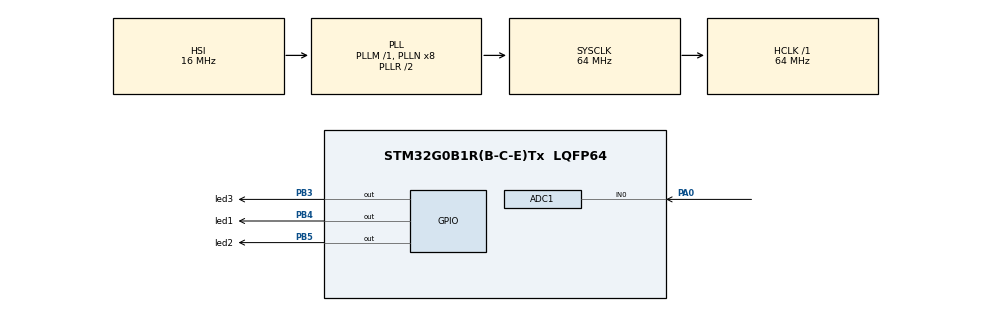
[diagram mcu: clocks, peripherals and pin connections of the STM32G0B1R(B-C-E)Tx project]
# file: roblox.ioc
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ADC1.Channel-0\#ChannelRegularConversion=ADC_CHANNEL_0
ADC1.NbrOfConversionFlag=1
ADC1.Rank-0\#ChannelRegularConversion=1
ADC1.SamplingTime-0\#ChannelRegularConversion=ADC_SAMPLINGTIME_COMMON_1
ADC1.SamplingTimeCommon1=ADC_SAMPLETIME_39CYCLES_5
ADC1.SamplingTimeCommon2=ADC_SAMPLETIME_39CYCLES_5
ADC1.SelectedChannel=ADC_CHANNEL_0
ADC1.master=1
Mcu.Family=STM32G0
Mcu.Name=STM32G0B1R(B-C-E)Tx
Mcu.Package=LQFP64
PA0.Mode=IN0
PA0.Signal=ADC1_IN0
PA13.Mode=Serial_Wire
PA13.Signal=SYS_SWDIO
PA14-BOOT0.Mode=Serial_Wire
PA14-BOOT0.Signal=SYS_SWCLK
PB3.GPIO_Label=led3
PB3.Signal=GPIO_Output
PB4.GPIO_Label=led1
PB4.Signal=GPIO_Output
PB5.GPIO_Label=led2
PB5.Signal=GPIO_Output
ProjectManager.HeapSize=0x200
ProjectManager.StackSize=0x400
ProjectManager.TargetToolchain=STM32CubeIDE
RCC.ADCFreq_Value=64000000
RCC.AHBFreq_Value=64000000
RCC.CortexFreq_Value=64000000
RCC.EXTERNAL_CLOCK_VALUE=48000
RCC.HCLKFreq_Value=64000000
RCC.HSE_VALUE=8000000
RCC.HSI48_VALUE=48000000
RCC.HSI_VALUE=16000000
RCC.LSE_VALUE=32768
RCC.SYSCLKFreq_VALUE=64000000
RCC.SYSCLKSource=RCC_SYSCLKSOURCE_PLLCLK
RCC.USBFreq_Value=48000000
RCC.VCOOutputFreq_Value=128000000
VP_SYS_VS_DBSignals.Mode=DisableDeadBatterySignals
board=custom

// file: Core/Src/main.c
/* USER CODE BEGIN Header */
/**
  ******************************************************************************
  * @file           : main.c
  * @brief          : Main program body
  ******************************************************************************
  * @attention
  *
  * Copyright (c) 2022 STMicroelectronics.
  * All rights reserved.
  *
  * This software is licensed under terms that can be found in the LICENSE file
  * in the root directory of this software component.
  * If no LICENSE file comes with this software, it is provided AS-IS.
  *
  ******************************************************************************
  */
/* USER CODE END Header */
#include "main.h"

/* USER CODE BEGIN Includes */
#include<stdint.h>
/* USER CODE END Includes */

ADC_HandleTypeDef hadc1;

void SystemClock_Config(void);
static void MX_GPIO_Init(void);
static void MX_ADC1_Init(void);

/* USER CODE BEGIN 0 */
uint16_t pot;
float tensao;
/* USER CODE END 0 */

int main(void)
{

  /* MCU Configuration--------------------------------------------------------*/

  /* Reset of all peripherals, Initializes the Flash interface and the Systick. */
  HAL_Init();

  /* Configure the system clock */
  SystemClock_Config();

  /* Initialize all configured peripherals */
  MX_GPIO_Init();
  MX_ADC1_Init();

  /* Infinite loop */
  /* USER CODE BEGIN WHILE */
  while (1)
  {
	  //Start ADC Conversion
	  HAL_ADC_Start(&hadc1);

	  //waits for the end of conversion
	  HAL_ADC_PollForConversion(&hadc1, 100);

	  //gets value from ADC result register
	  pot = HAL_ADC_GetValue(&hadc1);
	  tensao = pot * 0.000805861;

	  if (tensao <= 1){
		  HAL_GPIO_WritePin(led1_GPIO_Port, led1_Pin, 1);
		  HAL_GPIO_WritePin(led2_GPIO_Port, led2_Pin, 0);
		  HAL_GPIO_WritePin(led3_GPIO_Port, led3_Pin, 0);

	  }
	  else if (tensao > 1 && tensao < 3) {
		  HAL_GPIO_WritePin(led2_GPIO_Port, led2_Pin, 1);
		  HAL_GPIO_WritePin(led1_GPIO_Port, led1_Pin, 0);
		  HAL_GPIO_WritePin(led3_GPIO_Port, led3_Pin, 0);

	  }
	  else{
		  HAL_GPIO_WritePin(led3_GPIO_Port, led3_Pin, 1);
		  HAL_GPIO_WritePin(led1_GPIO_Port, led1_Pin, 0);
		  HAL_GPIO_WritePin(led2_GPIO_Port, led2_Pin, 0);

	  }

    /* USER CODE END WHILE */

  }
}

void SystemClock_Config(void)
{
  RCC_OscInitTypeDef RCC_OscInitStruct = {0};
  RCC_ClkInitTypeDef RCC_ClkInitStruct = {0};

  /** Configure the main internal regulator output voltage
  */
  HAL_PWREx_ControlVoltageScaling(PWR_REGULATOR_VOLTAGE_SCALE1);
  /** Initializes the RCC Oscillators according to the specified parameters
  * in the RCC_OscInitTypeDef structure.
  */
  RCC_OscInitStruct.OscillatorType = RCC_OSCILLATORTYPE_HSI;
  RCC_OscInitStruct.HSIState = RCC_HSI_ON;
  RCC_OscInitStruct.HSIDiv = RCC_HSI_DIV1;
  RCC_OscInitStruct.HSICalibrationValue = RCC_HSICALIBRATION_DEFAULT;
  RCC_OscInitStruct.PLL.PLLState = RCC_PLL_ON;
  RCC_OscInitStruct.PLL.PLLSource = RCC_PLLSOURCE_HSI;
  RCC_OscInitStruct.PLL.PLLM = RCC_PLLM_DIV1;
  RCC_OscInitStruct.PLL.PLLN = 8;
  RCC_OscInitStruct.PLL.PLLP = RCC_PLLP_DIV2;
  RCC_OscInitStruct.PLL.PLLQ = RCC_PLLQ_DIV2;
  RCC_OscInitStruct.PLL.PLLR = RCC_PLLR_DIV2;
  if (HAL_RCC_OscConfig(&RCC_OscInitStruct) != HAL_OK)
  {
    Error_Handler();
  }
  /** Initializes the CPU, AHB and APB buses clocks
  */
  RCC_ClkInitStruct.ClockType = RCC_CLOCKTYPE_HCLK|RCC_CLOCKTYPE_SYSCLK
                              |RCC_CLOCKTYPE_PCLK1;
  RCC_ClkInitStruct.SYSCLKSource = RCC_SYSCLKSOURCE_PLLCLK;
  RCC_ClkInitStruct.AHBCLKDivider = RCC_SYSCLK_DIV1;
  RCC_ClkInitStruct.APB1CLKDivider = RCC_HCLK_DIV1;

  if (HAL_RCC_ClockConfig(&RCC_ClkInitStruct, FLASH_LATENCY_2) != HAL_OK)
  {
    Error_Handler();
  }
}

static void MX_ADC1_Init(void)
{

  ADC_ChannelConfTypeDef sConfig = {0};

  /** Configure the global features of the ADC (Clock, Resolution, Data Alignment and number of conversion)
  */
  hadc1.Instance = ADC1;
  hadc1.Init.ClockPrescaler = ADC_CLOCK_SYNC_PCLK_DIV2;
  hadc1.Init.Resolution = ADC_RESOLUTION_12B;
  hadc1.Init.DataAlign = ADC_DATAALIGN_RIGHT;
  hadc1.Init.ScanConvMode = ADC_SCAN_DISABLE;
  hadc1.Init.EOCSelection = ADC_EOC_SINGLE_CONV;
  hadc1.Init.LowPowerAutoWait = DISABLE;
  hadc1.Init.LowPowerAutoPowerOff = DISABLE;
  hadc1.Init.ContinuousConvMode = DISABLE;
  hadc1.Init.NbrOfConversion = 1;
  hadc1.Init.DiscontinuousConvMode = DISABLE;
  hadc1.Init.ExternalTrigConv = ADC_SOFTWARE_START;
  hadc1.Init.ExternalTrigConvEdge = ADC_EXTERNALTRIGCONVEDGE_NONE;
  hadc1.Init.DMAContinuousRequests = DISABLE;
  hadc1.Init.Overrun = ADC_OVR_DATA_PRESERVED;
  hadc1.Init.SamplingTimeCommon1 = ADC_SAMPLETIME_39CYCLES_5;
  hadc1.Init.SamplingTimeCommon2 = ADC_SAMPLETIME_39CYCLES_5;
  hadc1.Init.OversamplingMode = DISABLE;
  hadc1.Init.TriggerFrequencyMode = ADC_TRIGGER_FREQ_HIGH;
  if (HAL_ADC_Init(&hadc1) != HAL_OK)
  {
    Error_Handler();
  }
  /** Configure Regular Channel
  */
  sConfig.Channel = ADC_CHANNEL_0;
  sConfig.Rank = ADC_REGULAR_RANK_1;
  sConfig.SamplingTime = ADC_SAMPLINGTIME_COMMON_1;
  if (HAL_ADC_ConfigChannel(&hadc1, &sConfig) != HAL_OK)
  {
    Error_Handler();
  }

}

static void MX_GPIO_Init(void)
{
  GPIO_InitTypeDef GPIO_InitStruct = {0};

  /* GPIO Ports Clock Enable */
  __HAL_RCC_GPIOA_CLK_ENABLE();
  __HAL_RCC_GPIOB_CLK_ENABLE();

  /*Configure GPIO pin Output Level */
  HAL_GPIO_WritePin(GPIOB, led3_Pin|led1_Pin|led2_Pin, GPIO_PIN_RESET);

  /*Configure GPIO pins : led3_Pin led1_Pin led2_Pin */
  GPIO_InitStruct.Pin = led3_Pin|led1_Pin|led2_Pin;
  GPIO_InitStruct.Mode = GPIO_MODE_OUTPUT_PP;
  GPIO_InitStruct.Pull = GPIO_NOPULL;
  GPIO_InitStruct.Speed = GPIO_SPEED_FREQ_LOW;
  HAL_GPIO_Init(GPIOB, &GPIO_InitStruct);

}

void Error_Handler(void)
{
  __disable_irq();
  while (1)
  {
  }
}
